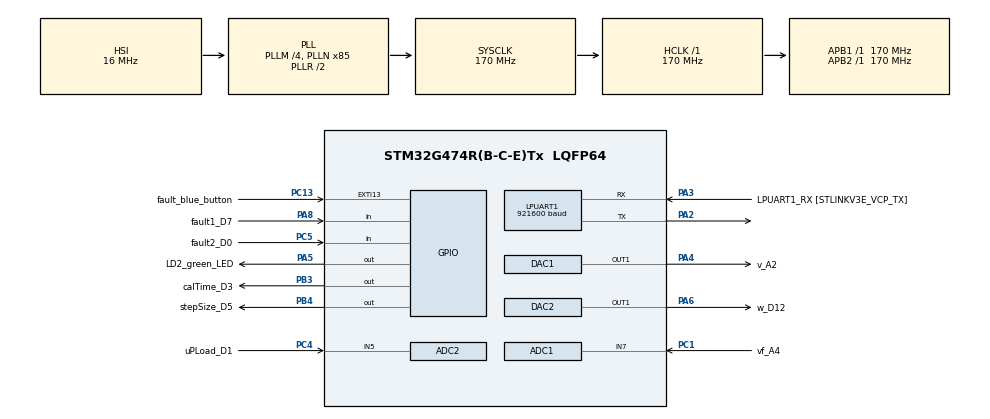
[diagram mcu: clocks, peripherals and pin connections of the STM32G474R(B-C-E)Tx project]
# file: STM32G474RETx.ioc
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ADC1.Channel-1\#ChannelRegularConversion=ADC_CHANNEL_7
ADC1.NbrOfConversionFlag=1
ADC1.OffsetNumber-1\#ChannelRegularConversion=ADC_OFFSET_NONE
ADC1.Rank-1\#ChannelRegularConversion=1
ADC1.SamplingTime-1\#ChannelRegularConversion=ADC_SAMPLETIME_2CYCLES_5
ADC1.master=1
ADC2.Channel-0\#ChannelRegularConversion=ADC_CHANNEL_5
ADC2.NbrOfConversionFlag=1
ADC2.OffsetNumber-0\#ChannelRegularConversion=ADC_OFFSET_NONE
ADC2.Rank-0\#ChannelRegularConversion=1
ADC2.SamplingTime-0\#ChannelRegularConversion=ADC_SAMPLETIME_2CYCLES_5
LPUART1.BaudRate=921600
Mcu.Family=STM32G4
Mcu.Name=STM32G474R(B-C-E)Tx
Mcu.Package=LQFP64
NVIC.EXTI15_10_IRQn=true\:0\:0\:false\:false\:true\:true\:true\:true
NVIC.PriorityGroup=NVIC_PRIORITYGROUP_4
NVIC.TIM1_UP_TIM16_IRQn=true\:0\:0\:false\:false\:true\:true\:true\:true
PA13.GPIO_Label=T_SWDIO
PA13.Mode=Serial_Wire
PA13.Signal=SYS_JTMS-SWDIO
PA14.GPIO_Label=T_SWCLK
PA14.Mode=Serial_Wire
PA14.Signal=SYS_JTCK-SWCLK
PA2.Mode=Asynchronous
PA2.Signal=LPUART1_TX
PA3.GPIO_Label=LPUART1_RX [STLINKV3E_VCP_TX]
PA3.Mode=Asynchronous
PA3.Signal=LPUART1_RX
PA4.GPIO_Label=v_A2
PA4.Signal=COMP_DAC11_group
PA5.GPIO_Label=LD2_green_LED
PA5.Signal=GPIO_Output
PA6.GPIO_Label=w_D12
PA6.Signal=COMP_DAC21_group
PA8.GPIO_Label=fault1_D7
PA8.GPIO_PuPd=GPIO_PULLDOWN
PA8.Signal=GPIO_Input
PB3.GPIO_Label=calTime_D3
PB3.GPIO_Speed=GPIO_SPEED_FREQ_VERY_HIGH
PB3.Signal=GPIO_Output
PB4.GPIO_Label=stepSize_D5
PB4.GPIO_Speed=GPIO_SPEED_FREQ_VERY_HIGH
PB4.Signal=GPIO_Output
PC1.GPIO_Label=vf_A4
PC1.Mode=IN7-Single-Ended
PC1.Signal=ADC1_IN7
PC13.GPIO_Label=fault_blue_button
PC13.Signal=GPXTI13
PC14-OSC32_IN.GPIO_Label=RCC_OSC32_IN
PC14-OSC32_IN.Mode=LSE-External-Oscillator
PC14-OSC32_IN.Signal=RCC_OSC32_IN
PC15-OSC32_OUT.GPIO_Label=RCC_OSC32_OUT
PC15-OSC32_OUT.Mode=LSE-External-Oscillator
PC15-OSC32_OUT.Signal=RCC_OSC32_OUT
PC4.GPIO_Label=uPLoad_D1
PC4.Mode=IN5-Single-Ended
PC4.Signal=ADC2_IN5
PC5.GPIO_Label=fault2_D0
PC5.GPIO_PuPd=GPIO_PULLDOWN
PC5.Signal=GPIO_Input
PF0-OSC_IN.GPIO_Label=RCC_OSC_IN
PF0-OSC_IN.Mode=HSE-External-Oscillator
PF0-OSC_IN.Signal=RCC_OSC_IN
PF1-OSC_OUT.GPIO_Label=RCC_OSC_OUT
PF1-OSC_OUT.Mode=HSE-External-Oscillator
PF1-OSC_OUT.Signal=RCC_OSC_OUT
ProjectManager.HeapSize=0x200
ProjectManager.StackSize=0x400
ProjectManager.TargetToolchain=STM32CubeIDE
RCC.ADC12Freq_Value=170000000
RCC.ADC345Freq_Value=170000000
RCC.AHBFreq_Value=170000000
RCC.APB1Freq_Value=170000000
RCC.APB1TimFreq_Value=170000000
RCC.APB2Freq_Value=170000000
RCC.APB2TimFreq_Value=170000000
RCC.CortexFreq_Value=170000000
RCC.EXTERNAL_CLOCK_VALUE=12288000
RCC.HCLKFreq_Value=170000000
RCC.HSE_VALUE=24000000
RCC.HSI48_VALUE=48000000
RCC.HSI_VALUE=16000000
RCC.PLLM=RCC_PLLM_DIV4
RCC.PLLN=85
RCC.RTCClockSelection=RCC_RTCCLKSOURCE_LSE
RCC.SYSCLKFreq_VALUE=170000000
RCC.SYSCLKSource=RCC_SYSCLKSOURCE_PLLCLK
RCC.USBFreq_Value=170000000
RCC.VCOOutputFreq_Value=340000000
SH.COMP_DAC11_group.0=DAC1_OUT1,DAC_OUT1
SH.COMP_DAC21_group.0=DAC2_OUT1,DAC_OUT1
TIM1.AutoReloadPreload=TIM_AUTORELOAD_PRELOAD_ENABLE
TIM1.Channel-Output\ Compare1\ No\ Output=TIM_CHANNEL_1
TIM1.CounterMode=TIM_COUNTERMODE_DOWN
TIM1.PeriodNoDither=999
TIM1.Prescaler=33
VP_SYS_VS_DBSignals.Mode=DisableDeadBatterySignals
VP_TIM1_VS_ClockSourceINT.Mode=Internal
VP_TIM1_VS_no_output1.Mode=Output Compare1 No Output
board=NUCLEO-G474RE

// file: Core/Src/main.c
/* USER CODE BEGIN Header */
/**
  ******************************************************************************
  * @file           : main.c
  * @brief          : Main program body
  ******************************************************************************
  * @attention
  *
  * Copyright (c) 2026 STMicroelectronics.
  * All rights reserved.
  *
  * This software is licensed under terms that can be found in the LICENSE file
  * in the root directory of this software component.
  * If no LICENSE file comes with this software, it is provided AS-IS.
  *
  ******************************************************************************
  */
/* USER CODE END Header */
#include "main.h"
#include "adc.h"
#include "dac.h"
#include "usart.h"
#include "tim.h"
#include "gpio.h"

/* USER CODE BEGIN Includes */
#include "block.h"
/* USER CODE END Includes */

/* USER CODE BEGIN PTD */
#define CONCAT_INNER(a, b) a##b
#define CONCAT(a, b) CONCAT_INNER(a, b)

/* Define shortcut names for unique, hash-based eFMU API: */
#define MODEL_HASH \
  H96e4298bd9675fbbcb46b0c1f68b039a5627ebc5_cb4a8a449b4ada864625ee5a4355578a3aaf08ed

typedef CONCAT(BlockState_, MODEL_HASH) \
  ModelGrid;
typedef CONCAT(SPE_Real_, MODEL_HASH) \
  Grid_Real;
typedef CONCAT(SPE_ErrorSignal_, MODEL_HASH) \
  Grid_ErrorSignal;

#define Grid_NONE_ERRORSIGNAL \
  CONCAT(SPE_ERRORSIGNAL_NONE_, MODEL_HASH)
#define Grid_UNSPECIFIED_ERRORSIGNAL \
  CONCAT(SPE_ERRORSIGNAL_UNSPECIFIED_ERROR_, MODEL_HASH)

#define Grid_Startup \
  CONCAT(Startup_, MODEL_HASH)
#define Grid_DoStep \
  CONCAT(DoStep_, MODEL_HASH)
#define Grid_Recalibrate \
  CONCAT(Recalibrate_, MODEL_HASH)
#define Grid_Reinitialize \
  CONCAT(Reinitialize_, MODEL_HASH)
/* USER CODE END PTD */

/* USER CODE BEGIN PV */
/* Sampling activation counter: */
static volatile uint8_t pending_samplings;
/* USER CODE END PV */

void SystemClock_Config(void);

int main(void)
{

  /* MCU Configuration--------------------------------------------------------*/

  /* Reset of all peripherals, Initializes the Flash interface and the Systick. */
  HAL_Init();

  /* Configure the system clock */
  SystemClock_Config();

  /* Initialize all configured peripherals */
  MX_GPIO_Init();
  MX_TIM1_Init();
  MX_LPUART1_UART_Init();
  MX_DAC1_Init();
  MX_DAC2_Init();
  MX_ADC1_Init();
  MX_ADC2_Init();

  /* USER CODE BEGIN 2 */
  /* Initialize error signaling: */
  Grid_ErrorSignal error_signals = Grid_NONE_ERRORSIGNAL;
  uint32_t error_timestamp = ((uint32_t) 0);

  /* Pre-compute constants: */
  const uint32_t POLL_TIMEOUT =
    ((uint32_t) 1); /* in ms */
  const Grid_Real ADC_TO_VOLTS =
    ((Grid_Real) 3.3) / ((Grid_Real) 4095.0 /* 12-bit ADC */);
  const Grid_Real VOLTS_TO_DAC =
    ((Grid_Real) 4095.0) / ((Grid_Real) 3.3);
  const Grid_Real DAC_MAX =
    ((Grid_Real) 4095.0);
  const Grid_Real DAC_MIN =
    ((Grid_Real) 0.0);
  const Grid_Real VF_OFFSET =
    ((Grid_Real) 1.5);
  /* Constraints for uPLoad potentiometer (-20 to +20): */
  const Grid_Real LOAD_SCALE =
    ((Grid_Real) 40.0) / ((Grid_Real) 4095.0);
  const Grid_Real LOAD_OFFSET =
    ((Grid_Real) 20.0);

  /* Initialize the eFMU: */
  ModelGrid grid;
  Grid_Startup(&grid);
  error_signals |= grid.ErrorSignals;
  if (Grid_NONE_ERRORSIGNAL != error_signals)
  { /* Block and blink the error LED if initialization failed: */
    while (true)
    {
      HAL_GPIO_WritePin(LD2_green_LED_GPIO_Port, LD2_green_LED_Pin, GPIO_PIN_SET);
      uint32_t start = HAL_GetTick();
      while ((HAL_GetTick() - start) < ((uint32_t) 2000))
      {
      }
      HAL_GPIO_WritePin(LD2_green_LED_GPIO_Port, LD2_green_LED_Pin, GPIO_PIN_RESET);
      start = HAL_GetTick();
      while ((HAL_GetTick() - start) < ((uint32_t) 2000))
      {
      }
    }
  }

  /* Start the sampling timer and DAC channels: */
  pending_samplings = ((uint8_t) 0);
  HAL_DAC_Start(&hdac1, DAC_CHANNEL_1);
  HAL_DAC_Start(&hdac2, DAC_CHANNEL_1);
  HAL_TIM_Base_Start_IT(&htim1);
  __enable_irq();
  /* USER CODE END 2 */

  /* Infinite loop */
  while (1)
  {

    /* USER CODE BEGIN 3 */
    /*
      Conduct sampling if the sampling timer ticked:
    */
    if (pending_samplings > ((uint8_t) 0))
    {
      /* Always reset the error signals: */
      error_signals = Grid_NONE_ERRORSIGNAL;

      /* Provide computation time feedback for external profiling: */
      HAL_GPIO_WritePin(calTime_D3_GPIO_Port, calTime_D3_Pin, GPIO_PIN_SET);

      /* Digital input processing: */
      grid.fault = (GPIO_PIN_SET == HAL_GPIO_ReadPin(
        fault_blue_button_GPIO_Port,
        fault_blue_button_Pin));
      grid.faultL1 = (GPIO_PIN_SET == HAL_GPIO_ReadPin(
        fault1_D7_GPIO_Port,
        fault1_D7_Pin));
      grid.faultL2 = (GPIO_PIN_SET == HAL_GPIO_ReadPin(
        fault2_D0_GPIO_Port,
        fault2_D0_Pin));

      /* Analog input processing: */
      HAL_ADC_Start(&hadc1);
      if (HAL_OK == HAL_ADC_PollForConversion(&hadc1, POLL_TIMEOUT))
      {
        const uint32_t adc_raw = HAL_ADC_GetValue(&hadc1);
        grid.vf = (((Grid_Real) adc_raw) * ADC_TO_VOLTS) - VF_OFFSET;
      }
      else
      {
        error_signals |= Grid_UNSPECIFIED_ERRORSIGNAL;
      }
      HAL_ADC_Stop(&hadc1);
      HAL_ADC_Start(&hadc2);
      if (HAL_OK == HAL_ADC_PollForConversion(&hadc2, POLL_TIMEOUT))
      {
        const uint32_t adc2_raw = HAL_ADC_GetValue(&hadc2);
        grid.uPLoad = (((Grid_Real) adc2_raw) * LOAD_SCALE) - LOAD_OFFSET;
      }
      else
      {
        error_signals |= Grid_UNSPECIFIED_ERRORSIGNAL;
      }
      HAL_ADC_Stop(&hadc2);

      /* Compute sampling step: */
      Grid_DoStep(&grid);
      error_signals |= grid.ErrorSignals;

      /* Output processing (scaling, clamping, converting volt to AC): */
      Grid_Real dac_v_val = grid.v * VOLTS_TO_DAC;
      if (DAC_MIN > dac_v_val)
      {
        dac_v_val = DAC_MIN;
      }
      else if (DAC_MAX < dac_v_val)
      {
        dac_v_val = DAC_MAX;
      }
      HAL_DAC_SetValue(
        &hdac1,
        DAC_CHANNEL_1,
        DAC_ALIGN_12B_R,
        ((uint32_t) dac_v_val));
      Grid_Real dac_w_val = grid.w * VOLTS_TO_DAC;
      if (DAC_MIN > dac_w_val)
      {
        dac_w_val = DAC_MIN;
      }
      else if (DAC_MAX < dac_w_val)
      {
        dac_w_val = DAC_MAX;
      }
      HAL_DAC_SetValue(
        &hdac2,
        DAC_CHANNEL_1,
        DAC_ALIGN_12B_R,
        ((uint32_t) dac_w_val));

      /* Provide computation time feedback for external profiling: */
      HAL_GPIO_WritePin(calTime_D3_GPIO_Port, calTime_D3_Pin, GPIO_PIN_RESET);

      --pending_samplings;
    }

    /*
      Check if any errors are signaled from the last sampling, or an overrun
      occurred. If so, set the error LED on:
    */
    if ((Grid_NONE_ERRORSIGNAL != error_signals)
      || (pending_samplings > ((uint8_t) 1)))
    {
      error_timestamp = HAL_GetTick();
      HAL_GPIO_WritePin(LD2_green_LED_GPIO_Port, LD2_green_LED_Pin, GPIO_PIN_SET);
    }

    /*
      If the error LED is currently on due to a past error, check if 30000 ms
      have passed since the last error occurred. If so, turn off the LED:
    */
    if ((((uint32_t) 0) != error_timestamp)
      && (((uint32_t) 30000) < (HAL_GetTick() - error_timestamp)))
    {
      HAL_GPIO_WritePin(LD2_green_LED_GPIO_Port, LD2_green_LED_Pin, GPIO_PIN_RESET);
      error_timestamp = ((uint32_t) 0);
    }
  }
  /* USER CODE END 3 */
}

void SystemClock_Config(void)
{
  RCC_OscInitTypeDef RCC_OscInitStruct = {0};
  RCC_ClkInitTypeDef RCC_ClkInitStruct = {0};

  /** Configure the main internal regulator output voltage
  */
  HAL_PWREx_ControlVoltageScaling(PWR_REGULATOR_VOLTAGE_SCALE1_BOOST);

  /** Initializes the RCC Oscillators according to the specified parameters
  * in the RCC_OscInitTypeDef structure.
  */
  RCC_OscInitStruct.OscillatorType = RCC_OSCILLATORTYPE_HSI;
  RCC_OscInitStruct.HSIState = RCC_HSI_ON;
  RCC_OscInitStruct.HSICalibrationValue = RCC_HSICALIBRATION_DEFAULT;
  RCC_OscInitStruct.PLL.PLLState = RCC_PLL_ON;
  RCC_OscInitStruct.PLL.PLLSource = RCC_PLLSOURCE_HSI;
  RCC_OscInitStruct.PLL.PLLM = RCC_PLLM_DIV4;
  RCC_OscInitStruct.PLL.PLLN = 85;
  RCC_OscInitStruct.PLL.PLLP = RCC_PLLP_DIV2;
  RCC_OscInitStruct.PLL.PLLQ = RCC_PLLQ_DIV2;
  RCC_OscInitStruct.PLL.PLLR = RCC_PLLR_DIV2;
  if (HAL_RCC_OscConfig(&RCC_OscInitStruct) != HAL_OK)
  {
    Error_Handler();
  }

  /** Initializes the CPU, AHB and APB buses clocks
  */
  RCC_ClkInitStruct.ClockType = RCC_CLOCKTYPE_HCLK|RCC_CLOCKTYPE_SYSCLK
                              |RCC_CLOCKTYPE_PCLK1|RCC_CLOCKTYPE_PCLK2;
  RCC_ClkInitStruct.SYSCLKSource = RCC_SYSCLKSOURCE_PLLCLK;
  RCC_ClkInitStruct.AHBCLKDivider = RCC_SYSCLK_DIV1;
  RCC_ClkInitStruct.APB1CLKDivider = RCC_HCLK_DIV1;
  RCC_ClkInitStruct.APB2CLKDivider = RCC_HCLK_DIV1;

  if (HAL_RCC_ClockConfig(&RCC_ClkInitStruct, FLASH_LATENCY_4) != HAL_OK)
  {
    Error_Handler();
  }
}

/* USER CODE BEGIN 4 */
void HAL_TIM_PeriodElapsedCallback(TIM_HandleTypeDef *htim)
{
  if (TIM1 == htim->Instance)
  {
    if (pending_samplings < ((uint8_t) 255))
    {
      ++pending_samplings;
    }
    HAL_GPIO_TogglePin(stepSize_D5_GPIO_Port, stepSize_D5_Pin);
  }
}
/* USER CODE END 4 */

void Error_Handler(void)
{
  __disable_irq();
  while (1)
  {
  }
}
